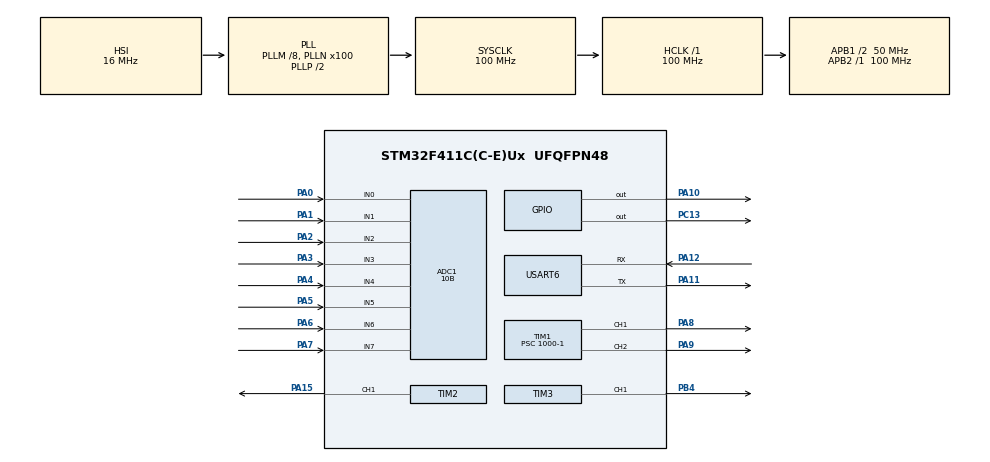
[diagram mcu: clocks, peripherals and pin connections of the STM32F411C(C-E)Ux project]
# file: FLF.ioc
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ADC1.Channel-0\#ChannelRegularConversion=ADC_CHANNEL_0
ADC1.Channel-1\#ChannelRegularConversion=ADC_CHANNEL_1
ADC1.Channel-10\#ChannelRegularConversion=ADC_CHANNEL_6
ADC1.Channel-11\#ChannelRegularConversion=ADC_CHANNEL_7
ADC1.Channel-6\#ChannelRegularConversion=ADC_CHANNEL_2
ADC1.Channel-7\#ChannelRegularConversion=ADC_CHANNEL_3
ADC1.Channel-8\#ChannelRegularConversion=ADC_CHANNEL_4
ADC1.Channel-9\#ChannelRegularConversion=ADC_CHANNEL_5
ADC1.ClockPrescaler=ADC_CLOCK_SYNC_PCLK_DIV4
ADC1.ContinuousConvMode=DISABLE
ADC1.DMAContinuousRequests=ENABLE
ADC1.EOCSelection=ADC_EOC_SEQ_CONV
ADC1.InjNumberOfConversion=0
ADC1.NbrOfConversion=8
ADC1.NbrOfConversionFlag=1
ADC1.Rank-0\#ChannelRegularConversion=1
ADC1.Rank-1\#ChannelRegularConversion=2
ADC1.Rank-10\#ChannelRegularConversion=7
ADC1.Rank-11\#ChannelRegularConversion=8
ADC1.Rank-6\#ChannelRegularConversion=3
ADC1.Rank-7\#ChannelRegularConversion=4
ADC1.Rank-8\#ChannelRegularConversion=5
ADC1.Rank-9\#ChannelRegularConversion=6
ADC1.Resolution=ADC_RESOLUTION_10B
ADC1.SamplingTime-0\#ChannelRegularConversion=ADC_SAMPLETIME_84CYCLES
ADC1.SamplingTime-1\#ChannelRegularConversion=ADC_SAMPLETIME_84CYCLES
ADC1.SamplingTime-10\#ChannelRegularConversion=ADC_SAMPLETIME_84CYCLES
ADC1.SamplingTime-11\#ChannelRegularConversion=ADC_SAMPLETIME_84CYCLES
ADC1.SamplingTime-6\#ChannelRegularConversion=ADC_SAMPLETIME_84CYCLES
ADC1.SamplingTime-7\#ChannelRegularConversion=ADC_SAMPLETIME_84CYCLES
ADC1.SamplingTime-8\#ChannelRegularConversion=ADC_SAMPLETIME_84CYCLES
ADC1.SamplingTime-9\#ChannelRegularConversion=ADC_SAMPLETIME_84CYCLES
ADC1.ScanConvMode=ENABLE
ADC1.master=1
Dma.ADC1.0.Direction=DMA_PERIPH_TO_MEMORY
Dma.ADC1.0.FIFOMode=DMA_FIFOMODE_DISABLE
Dma.ADC1.0.Instance=DMA2_Stream0
Dma.ADC1.0.MemDataAlignment=DMA_MDATAALIGN_WORD
Dma.ADC1.0.MemInc=DMA_MINC_ENABLE
Dma.ADC1.0.Mode=DMA_NORMAL
Dma.ADC1.0.PeriphDataAlignment=DMA_PDATAALIGN_WORD
Dma.ADC1.0.PeriphInc=DMA_PINC_DISABLE
Dma.ADC1.0.Priority=DMA_PRIORITY_VERY_HIGH
Dma.Request0=ADC1
Dma.Request1=USART6_RX
Dma.USART6_RX.1.Direction=DMA_PERIPH_TO_MEMORY
Dma.USART6_RX.1.FIFOMode=DMA_FIFOMODE_DISABLE
Dma.USART6_RX.1.Instance=DMA2_Stream1
Dma.USART6_RX.1.MemDataAlignment=DMA_MDATAALIGN_BYTE
Dma.USART6_RX.1.MemInc=DMA_MINC_ENABLE
Dma.USART6_RX.1.Mode=DMA_NORMAL
Dma.USART6_RX.1.PeriphDataAlignment=DMA_PDATAALIGN_BYTE
Dma.USART6_RX.1.PeriphInc=DMA_PINC_DISABLE
Dma.USART6_RX.1.Priority=DMA_PRIORITY_LOW
Mcu.Family=STM32F4
Mcu.Name=STM32F411C(C-E)Ux
Mcu.Package=UFQFPN48
NVIC.ADC_IRQn=true\:0\:0\:false\:true\:true\:1\:true\:true\:true
NVIC.DMA2_Stream0_IRQn=true\:0\:0\:true\:false\:true\:false\:true\:true
NVIC.DMA2_Stream1_IRQn=true\:0\:0\:false\:false\:true\:false\:true\:true
NVIC.PriorityGroup=NVIC_PRIORITYGROUP_4
NVIC.USART6_IRQn=true\:0\:0\:false\:false\:true\:true\:true\:true
PA0-WKUP.Signal=ADCx_IN0
PA1.Signal=ADCx_IN1
PA10.GPIO_PuPd=GPIO_PULLDOWN
PA10.Signal=GPIO_Output
PA11.Mode=Asynchronous
PA11.Signal=USART6_TX
PA12.Mode=Asynchronous
PA12.Signal=USART6_RX
PA13.Mode=Trace_Asynchronous_SW
PA13.Signal=SYS_JTMS-SWDIO
PA14.Mode=Trace_Asynchronous_SW
PA14.Signal=SYS_JTCK-SWCLK
PA15.Signal=S_TIM2_CH1_ETR
PA2.Signal=ADCx_IN2
PA3.Signal=ADCx_IN3
PA4.Signal=ADCx_IN4
PA5.Signal=ADCx_IN5
PA6.Signal=ADCx_IN6
PA7.Signal=ADCx_IN7
PA8.Signal=S_TIM1_CH1
PA9.Signal=S_TIM1_CH2
PB3.Mode=Trace_Asynchronous_SW
PB3.Signal=SYS_JTDO-SWO
PB4.Signal=S_TIM3_CH1
PC13-ANTI_TAMP.Signal=GPIO_Output
PH0\ -\ OSC_IN.Mode=HSE-External-Oscillator
PH0\ -\ OSC_IN.Signal=RCC_OSC_IN
PH1\ -\ OSC_OUT.Mode=HSE-External-Oscillator
PH1\ -\ OSC_OUT.Signal=RCC_OSC_OUT
ProjectManager.HeapSize=0x200
ProjectManager.StackSize=0x400
ProjectManager.TargetToolchain=STM32CubeIDE
RCC.48MHZClocksFreq_Value=50000000
RCC.AHBFreq_Value=100000000
RCC.APB1CLKDivider=RCC_HCLK_DIV2
RCC.APB1Freq_Value=50000000
RCC.APB1TimFreq_Value=100000000
RCC.APB2Freq_Value=100000000
RCC.APB2TimFreq_Value=100000000
RCC.CortexFreq_Value=100000000
RCC.HCLKFreq_Value=100000000
RCC.HSE_VALUE=25000000
RCC.HSI_VALUE=16000000
RCC.LSE_VALUE=32768
RCC.PLLM=8
RCC.PLLN=100
RCC.SYSCLKFreq_VALUE=100000000
RCC.SYSCLKSource=RCC_SYSCLKSOURCE_PLLCLK
RCC.VCOOutputFreq_Value=200000000
SH.ADCx_IN0.0=ADC1_IN0,IN0
SH.ADCx_IN1.0=ADC1_IN1,IN1
SH.ADCx_IN2.0=ADC1_IN2,IN2
SH.ADCx_IN3.0=ADC1_IN3,IN3
SH.ADCx_IN4.0=ADC1_IN4,IN4
SH.ADCx_IN5.0=ADC1_IN5,IN5
SH.ADCx_IN6.0=ADC1_IN6,IN6
SH.ADCx_IN7.0=ADC1_IN7,IN7
SH.S_TIM1_CH1.0=TIM1_CH1,PWM Generation1 CH1
SH.S_TIM1_CH2.0=TIM1_CH2,PWM Generation2 CH2
SH.S_TIM2_CH1_ETR.0=TIM2_CH1,PWM Generation1 CH1
SH.S_TIM3_CH1.0=TIM3_CH1,PWM Generation1 CH1
TIM1.Channel-PWM\ Generation1\ CH1=TIM_CHANNEL_1
TIM1.Channel-PWM\ Generation2\ CH2=TIM_CHANNEL_2
TIM1.Period=200
TIM1.Prescaler=1000-1
TIM2.Channel-PWM\ Generation1\ CH1=TIM_CHANNEL_1
TIM2.Period=200
TIM2.Prescaler=1000-1
TIM3.Channel-PWM\ Generation1\ CH1=TIM_CHANNEL_1
TIM3.Period=100
TIM3.Prescaler=1000-1
USART6.VirtualMode=VM_ASYNC
board=custom

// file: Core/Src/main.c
/* USER CODE BEGIN Header */
/**
  ******************************************************************************
  * @file           : main.c
  * @brief          : Main program body
  ******************************************************************************
  * @attention
  *
  * Copyright (c) 2025 STMicroelectronics.
  * All rights reserved.
  *
  * This software is licensed under terms that can be found in the LICENSE file
  * in the root directory of this software component.
  * If no LICENSE file comes with this software, it is provided AS-IS.
  *
  ******************************************************************************
  */
/* USER CODE END Header */
#include "main.h"

/* USER CODE BEGIN Includes */
#include "arm_math.h"
#include "string.h"
#include "math.h"
#include <stdlib.h>
/* USER CODE END Includes */

/* USER CODE BEGIN PTD */
typedef struct __attribute__((packed)) {
  char      header_start;         // Should be '<'
  char      header_end;           // Should be '>'
  float     position;
  uint16_t  sensor_values[9];     // Your GUI is configured for 9 sensors
  uint8_t   status_code;
  float     kp;
  float     ki;
  float     kd;
  uint16_t  threshold;
  uint8_t   base_speed;
  float 	pid_error;
  float 	pid_output;
} TelemetryPacket;

typedef struct {
    float32_t Kp;
    float32_t Ki;
    float32_t Kd;

    float32_t setpoint;
    float32_t integral;
    float32_t prev_error;

    float32_t output_min;
    float32_t output_max;
} PID_Controller;
/* USER CODE END PTD */

ADC_HandleTypeDef hadc1;
DMA_HandleTypeDef hdma_adc1;

TIM_HandleTypeDef htim1;
TIM_HandleTypeDef htim2;
TIM_HandleTypeDef htim3;

UART_HandleTypeDef huart6;
DMA_HandleTypeDef hdma_usart6_rx;

/* USER CODE BEGIN PV */
float32_t Kp = 2.5f, Ki = 0.0f, Kd = 0.5f;
uint16_t sensor_threshold = 900;
uint8_t base_speed = 100;
uint8_t turn_speed = 60;
volatile uint8_t status_to_send = 0;

uint32_t adc_buffer[8];
uint32_t sensorWeight[8] = {70, 60, 50, 40, 30, 20, 10, 0};
float32_t position;
PID_Controller pid;

#define RX_BUFFER_SIZE 32
uint8_t rx_buffer[RX_BUFFER_SIZE];
uint32_t last_telemetry_time = 0; // Stores the last time we sent data
const uint32_t TELEMETRY_INTERVAL_MS = 10;

int last_known_turn_direction = 0;
int last_last_known_turn_direction=1;
/* USER CODE END PV */

void SystemClock_Config(void);
static void MX_GPIO_Init(void);
static void MX_DMA_Init(void);
static void MX_ADC1_Init(void);
static void MX_TIM1_Init(void);
static void MX_TIM2_Init(void);
static void MX_TIM3_Init(void);
static void MX_USART6_UART_Init(void);
static void MX_NVIC_Init(void);
/* USER CODE BEGIN PFP */
void setMotorSpeed(uint8_t motor, int32_t speed);
float line_data(void);
void HAL_UARTEx_RxEventCallback(UART_HandleTypeDef *huart, uint16_t Size);
void send_telemetry_data(float current_position,float pid_err, float pid_out) ;
void handle_received_command(uint8_t* buffer, uint16_t len);
void PID_Init(PID_Controller *pid, float32_t setpoint, float32_t out_min, float32_t out_max);
float32_t PID_Update(PID_Controller *pid, float32_t measured_value, float32_t dt);
void PID_Reset(PID_Controller *pid);

/* USER CODE END PFP */

/* USER CODE BEGIN 0 */
void setMotorSpeed(uint8_t motor, int32_t speed) {
    uint16_t pwm = abs(speed);
    if (pwm > 200) pwm = 200;  // Limit max speed

    if (motor == 0) {  // Left motor
        if (speed > 0) {
            TIM1->CCR1 = pwm;
            TIM1->CCR2 = 0;
        } else {
            TIM1->CCR1 = 0;
            TIM1->CCR2 = pwm;
        }
    }
    else if (motor == 1) {  // Right motor
        if (speed > 0) {
            TIM2->CCR1 = pwm;
            TIM3->CCR1 = 0;
        } else {
            TIM2->CCR1 = 0;
            TIM3->CCR1 = pwm;
        }
    }
}
float line_data(void) {
	uint32_t sum = 0;
	uint32_t weighted_sum = 0;
	uint32_t onLine = 0;

    for (int i = 0; i < 8; i++) {
        if (adc_buffer[i] > sensor_threshold) {
            weighted_sum += sensorWeight[i];
            sum += 1;
            onLine = 1;
        }
    }

    if (!onLine) {
        return 255;  // Line lost condition
    }

    return (float)weighted_sum / (float)sum;
}

void send_telemetry_data(float current_position,float pid_err, float pid_out) {
    static TelemetryPacket packet;

    // 1. Set header
    packet.header_start = '<';
    packet.header_end = '>';

    // 2. Add the live position data
    packet.position = current_position;

    // 3. Fill sensor data
    for(int i = 0; i < 8; i++) {
        packet.sensor_values[i] = (uint16_t)adc_buffer[i];
    }
    packet.sensor_values[8] = 0; // 9th sensor is unused

    // 4. Fill with LIVE robot state
    packet.status_code = status_to_send;
    packet.kp = Kp;
    packet.ki = Ki;
    packet.kd = Kd;
    packet.threshold = sensor_threshold;
    packet.base_speed = (uint8_t)base_speed;
    packet.pid_error = pid_err;
    packet.pid_output = pid_out;

    // 5. Transmit the packet
    HAL_UART_Transmit(&huart6, (uint8_t*)&packet, sizeof(TelemetryPacket), 100);

    // 6. Reset the status code after sending
    status_to_send = 0;
}
void handle_received_command(uint8_t* buffer, uint16_t len) {
  // Create a local, null-terminated copy to work with safely.
  char cmd_string[len + 1];
  memcpy(cmd_string, buffer, len);
  cmd_string[len] = '\0';

  // Find the separator character ':'
  char* colon_ptr = strchr(cmd_string, ':');

  // Check if the separator was found
  if (colon_ptr != NULL) {
    *colon_ptr = '\0';
    char* key = cmd_string;
    char* value_str = colon_ptr + 1;
    float value = atof(value_str);

    // --- NEW: Flag to check if we need to re-initialize PID ---
    uint8_t pid_constants_changed = 0;

    if (strcmp(key, "KP") == 0) {
      Kp = value;
      pid_constants_changed = 1; // Mark that a PID constant has changed
    } else if (strcmp(key, "KI") == 0) {
      Ki = value;
      pid_constants_changed = 1; // Mark that a PID constant has changed
    } else if (strcmp(key, "KD") == 0) {
      Kd = value;
      pid_constants_changed = 1; // Mark that a PID constant has changed
    } else if (strcmp(key, "TH") == 0) {
      sensor_threshold = (uint16_t)value;
      status_to_send = 1;
    } else if (strcmp(key, "BS") == 0) {
      base_speed = (uint8_t)value; // Cast to uint8_t for consistency
      pid.output_min = -base_speed;
      pid.output_max = base_speed;
      status_to_send = 1;
    } else {
      status_to_send = 200; // "ERROR: Unknown Command"
    }

    // --- NEW: If any PID constant was changed, update the struct and re-init ---
    if (pid_constants_changed) {
        pid.Kp = Kp;
        pid.Ki = Ki;
        pid.Kd = Kd;
        status_to_send = 1;        // Set status to "Constants Updated"
    }

  } else {
    // The colon separator was not found, so the format is wrong.
    status_to_send = 200; // "ERROR: Unknown Command"
  }
}

// This callback is automatically called by the HAL when a command arrives.
void HAL_UARTEx_RxEventCallback(UART_HandleTypeDef *huart, uint16_t Size)
{
    if (huart->Instance == USART6) {
        handle_received_command(rx_buffer, Size);

        // IMPORTANT: Restart listening for the next command.
        HAL_UARTEx_ReceiveToIdle_DMA(&huart6, rx_buffer, RX_BUFFER_SIZE);
        __HAL_DMA_DISABLE_IT(&hdma_usart6_rx, DMA_IT_HT);
    }
}

void PID_Init(PID_Controller *pid, float32_t setpoint, float32_t out_min, float32_t out_max)  {
    pid->Kp = Kp;
    pid->Ki = Ki;
    pid->Kd = Kd;
    pid->setpoint = setpoint;
    pid->output_min = out_min;
    pid->output_max = out_max;
    pid->integral = 0.0f;
    pid->prev_error = 0.0f;
}

float32_t PID_Update(PID_Controller *pid, float32_t measured_value, float32_t dt) {
    // 1. Calculate Error
    float32_t error = pid->setpoint - measured_value;

    // 2. Proportional term
    float32_t p_term = pid->Kp * error;

    // 3. Integral term (with anti-windup)
    pid->integral += error * dt;
    // Clamp the integral to prevent windup
    if (pid->integral > pid->output_max) {
        pid->integral = pid->output_max;
    } else if (pid->integral < pid->output_min) {
        pid->integral = pid->output_min;
    }
    float32_t i_term = pid->Ki * pid->integral;

    // 4. Derivative term (with division-by-zero safety check)
    float32_t derivative = 0.0f;
    if (dt > 0.00001f) {
        derivative = (error - pid->prev_error) / dt;
    }
    float32_t d_term = pid->Kd * derivative;

    // 5. Calculate total output
    float32_t output = p_term + i_term + d_term;

    // 6. Clamp the final output
    if (output > pid->output_max) {
        output = pid->output_max;
    } else if (output < pid->output_min) {
        output = pid->output_min;
    }

    // 7. Save current error for next iteration
    pid->prev_error = error;

    return output;
}

void PID_Reset(PID_Controller *pid) {
    pid->integral = 0.0f;
    pid->prev_error = 0.0f;
}
/* USER CODE END 0 */

int main(void)
{

  /* MCU Configuration--------------------------------------------------------*/

  /* Reset of all peripherals, Initializes the Flash interface and the Systick. */
  HAL_Init();

  /* Configure the system clock */
  SystemClock_Config();

  /* Initialize all configured peripherals */
  MX_GPIO_Init();
  MX_DMA_Init();
  MX_ADC1_Init();
  MX_TIM1_Init();
  MX_TIM2_Init();
  MX_TIM3_Init();
  MX_USART6_UART_Init();

  /* Initialize interrupts */
  MX_NVIC_Init();
  /* USER CODE BEGIN 2 */
  HAL_ADC_Start_IT(&hadc1);
  HAL_ADC_Start_DMA(&hadc1, (uint32_t*) adc_buffer, 8);
  HAL_TIM_PWM_Start(&htim1, TIM_CHANNEL_1);
  HAL_TIM_PWM_Start(&htim1, TIM_CHANNEL_2);
  HAL_TIM_PWM_Start(&htim3, TIM_CHANNEL_1);
  HAL_TIM_PWM_Start(&htim2, TIM_CHANNEL_1);
  HAL_UARTEx_ReceiveToIdle_DMA(&huart6, rx_buffer, RX_BUFFER_SIZE);
  __HAL_DMA_DISABLE_IT(&hdma_usart6_rx, DMA_IT_HT);

  PID_Init(&pid, 35.0f, -base_speed, base_speed);

  HAL_ADC_Start_DMA(&hadc1, (uint32_t*)adc_buffer, 8);
  /* USER CODE END 2 */

  /* Infinite loop */
  while (1)
  {
	  uint32_t current_time = HAL_GetTick();
	  float32_t error = 0.0f;
	  float32_t output = 0.0f;

	  if (current_time - last_telemetry_time >= TELEMETRY_INTERVAL_MS)
	  {
	      last_telemetry_time = current_time;
	      HAL_ADC_Start_DMA(&hadc1, (uint32_t*)adc_buffer, 8);
	      float32_t dt_sec = (float32_t)TELEMETRY_INTERVAL_MS / 1000.0f;
	      position = line_data();

	      last_known_turn_direction = (position > 52 && position <= 70) ? -1 : ((position < 20 && position != 255) ? 1 : last_known_turn_direction);

	      if (position == 255)
	      {
	    	  PID_Reset(&pid);
	    	  if (last_known_turn_direction == 1) { // We were heading into a right turn
	    		  setMotorSpeed(0, turn_speed);
	    		  setMotorSpeed(1, -turn_speed);
	    		  status_to_send = 4;
	    	  } else if (last_known_turn_direction == -1) { // We were heading into a left turn
	    		  setMotorSpeed(0, -turn_speed);
	    		  setMotorSpeed(1, turn_speed);
	    		  status_to_send = 5;
	    	  }

	      } else {
	    	  output = PID_Update(&pid, position, dt_sec);
	    	  error = pid.setpoint - position;
	    	  setMotorSpeed(0, base_speed + (int32_t)output);
	    	  setMotorSpeed(1, base_speed - (int32_t)output);
	      }

	      send_telemetry_data(position,error,output);
	    }

  }
}

void SystemClock_Config(void)
{
  RCC_OscInitTypeDef RCC_OscInitStruct = {0};
  RCC_ClkInitTypeDef RCC_ClkInitStruct = {0};

  /** Configure the main internal regulator output voltage
  */
  __HAL_RCC_PWR_CLK_ENABLE();
  __HAL_PWR_VOLTAGESCALING_CONFIG(PWR_REGULATOR_VOLTAGE_SCALE1);

  /** Initializes the RCC Oscillators according to the specified parameters
  * in the RCC_OscInitTypeDef structure.
  */
  RCC_OscInitStruct.OscillatorType = RCC_OSCILLATORTYPE_HSI;
  RCC_OscInitStruct.HSIState = RCC_HSI_ON;
  RCC_OscInitStruct.HSICalibrationValue = RCC_HSICALIBRATION_DEFAULT;
  RCC_OscInitStruct.PLL.PLLState = RCC_PLL_ON;
  RCC_OscInitStruct.PLL.PLLSource = RCC_PLLSOURCE_HSI;
  RCC_OscInitStruct.PLL.PLLM = 8;
  RCC_OscInitStruct.PLL.PLLN = 100;
  RCC_OscInitStruct.PLL.PLLP = RCC_PLLP_DIV2;
  RCC_OscInitStruct.PLL.PLLQ = 4;
  if (HAL_RCC_OscConfig(&RCC_OscInitStruct) != HAL_OK)
  {
    Error_Handler();
  }

  /** Initializes the CPU, AHB and APB buses clocks
  */
  RCC_ClkInitStruct.ClockType = RCC_CLOCKTYPE_HCLK|RCC_CLOCKTYPE_SYSCLK
                              |RCC_CLOCKTYPE_PCLK1|RCC_CLOCKTYPE_PCLK2;
  RCC_ClkInitStruct.SYSCLKSource = RCC_SYSCLKSOURCE_PLLCLK;
  RCC_ClkInitStruct.AHBCLKDivider = RCC_SYSCLK_DIV1;
  RCC_ClkInitStruct.APB1CLKDivider = RCC_HCLK_DIV2;
  RCC_ClkInitStruct.APB2CLKDivider = RCC_HCLK_DIV1;

  if (HAL_RCC_ClockConfig(&RCC_ClkInitStruct, FLASH_LATENCY_3) != HAL_OK)
  {
    Error_Handler();
  }
}

/**
  * @brief NVIC Configuration.
  * @retval None
  */
static void MX_NVIC_Init(void)
{
  /* ADC_IRQn interrupt configuration */
  HAL_NVIC_SetPriority(ADC_IRQn, 0, 0);
  HAL_NVIC_EnableIRQ(ADC_IRQn);
}

static void MX_ADC1_Init(void)
{

  ADC_ChannelConfTypeDef sConfig = {0};

  /** Configure the global features of the ADC (Clock, Resolution, Data Alignment and number of conversion)
  */
  hadc1.Instance = ADC1;
  hadc1.Init.ClockPrescaler = ADC_CLOCK_SYNC_PCLK_DIV4;
  hadc1.Init.Resolution = ADC_RESOLUTION_10B;
  hadc1.Init.ScanConvMode = ENABLE;
  hadc1.Init.ContinuousConvMode = DISABLE;
  hadc1.Init.DiscontinuousConvMode = DISABLE;
  hadc1.Init.ExternalTrigConvEdge = ADC_EXTERNALTRIGCONVEDGE_NONE;
  hadc1.Init.ExternalTrigConv = ADC_SOFTWARE_START;
  hadc1.Init.DataAlign = ADC_DATAALIGN_RIGHT;
  hadc1.Init.NbrOfConversion = 8;
  hadc1.Init.DMAContinuousRequests = ENABLE;
  hadc1.Init.EOCSelection = ADC_EOC_SEQ_CONV;
  if (HAL_ADC_Init(&hadc1) != HAL_OK)
  {
    Error_Handler();
  }

  /** Configure for the selected ADC regular channel its corresponding rank in the sequencer and its sample time.
  */
  sConfig.Channel = ADC_CHANNEL_0;
  sConfig.Rank = 1;
  sConfig.SamplingTime = ADC_SAMPLETIME_84CYCLES;
  if (HAL_ADC_ConfigChannel(&hadc1, &sConfig) != HAL_OK)
  {
    Error_Handler();
  }

  /** Configure for the selected ADC regular channel its corresponding rank in the sequencer and its sample time.
  */
  sConfig.Channel = ADC_CHANNEL_1;
  sConfig.Rank = 2;
  if (HAL_ADC_ConfigChannel(&hadc1, &sConfig) != HAL_OK)
  {
    Error_Handler();
  }

  /** Configure for the selected ADC regular channel its corresponding rank in the sequencer and its sample time.
  */
  sConfig.Channel = ADC_CHANNEL_2;
  sConfig.Rank = 3;
  if (HAL_ADC_ConfigChannel(&hadc1, &sConfig) != HAL_OK)
  {
    Error_Handler();
  }

  /** Configure for the selected ADC regular channel its corresponding rank in the sequencer and its sample time.
  */
  sConfig.Channel = ADC_CHANNEL_3;
  sConfig.Rank = 4;
  if (HAL_ADC_ConfigChannel(&hadc1, &sConfig) != HAL_OK)
  {
    Error_Handler();
  }

  /** Configure for the selected ADC regular channel its corresponding rank in the sequencer and its sample time.
  */
  sConfig.Channel = ADC_CHANNEL_4;
  sConfig.Rank = 5;
  if (HAL_ADC_ConfigChannel(&hadc1, &sConfig) != HAL_OK)
  {
    Error_Handler();
  }

  /** Configure for the selected ADC regular channel its corresponding rank in the sequencer and its sample time.
  */
  sConfig.Channel = ADC_CHANNEL_5;
  sConfig.Rank = 6;
  if (HAL_ADC_ConfigChannel(&hadc1, &sConfig) != HAL_OK)
  {
    Error_Handler();
  }

  /** Configure for the selected ADC regular channel its corresponding rank in the sequencer and its sample time.
  */
  sConfig.Channel = ADC_CHANNEL_6;
  sConfig.Rank = 7;
  if (HAL_ADC_ConfigChannel(&hadc1, &sConfig) != HAL_OK)
  {
    Error_Handler();
  }

  /** Configure for the selected ADC regular channel its corresponding rank in the sequencer and its sample time.
  */
  sConfig.Channel = ADC_CHANNEL_7;
  sConfig.Rank = 8;
  if (HAL_ADC_ConfigChannel(&hadc1, &sConfig) != HAL_OK)
  {
    Error_Handler();
  }

}

static void MX_TIM1_Init(void)
{

  TIM_MasterConfigTypeDef sMasterConfig = {0};
  TIM_OC_InitTypeDef sConfigOC = {0};
  TIM_BreakDeadTimeConfigTypeDef sBreakDeadTimeConfig = {0};

  htim1.Instance = TIM1;
  htim1.Init.Prescaler = 1000-1;
  htim1.Init.CounterMode = TIM_COUNTERMODE_UP;
  htim1.Init.Period = 200;
  htim1.Init.ClockDivision = TIM_CLOCKDIVISION_DIV1;
  htim1.Init.RepetitionCounter = 0;
  htim1.Init.AutoReloadPreload = TIM_AUTORELOAD_PRELOAD_DISABLE;
  if (HAL_TIM_PWM_Init(&htim1) != HAL_OK)
  {
    Error_Handler();
  }
  sMasterConfig.MasterOutputTrigger = TIM_TRGO_RESET;
  sMasterConfig.MasterSlaveMode = TIM_MASTERSLAVEMODE_DISABLE;
  if (HAL_TIMEx_MasterConfigSynchronization(&htim1, &sMasterConfig) != HAL_OK)
  {
    Error_Handler();
  }
  sConfigOC.OCMode = TIM_OCMODE_PWM1;
  sConfigOC.Pulse = 0;
  sConfigOC.OCPolarity = TIM_OCPOLARITY_HIGH;
  sConfigOC.OCNPolarity = TIM_OCNPOLARITY_HIGH;
  sConfigOC.OCFastMode = TIM_OCFAST_DISABLE;
  sConfigOC.OCIdleState = TIM_OCIDLESTATE_RESET;
  sConfigOC.OCNIdleState = TIM_OCNIDLESTATE_RESET;
  if (HAL_TIM_PWM_ConfigChannel(&htim1, &sConfigOC, TIM_CHANNEL_1) != HAL_OK)
  {
    Error_Handler();
  }
  if (HAL_TIM_PWM_ConfigChannel(&htim1, &sConfigOC, TIM_CHANNEL_2) != HAL_OK)
  {
    Error_Handler();
  }
  sBreakDeadTimeConfig.OffStateRunMode = TIM_OSSR_DISABLE;
  sBreakDeadTimeConfig.OffStateIDLEMode = TIM_OSSI_DISABLE;
  sBreakDeadTimeConfig.LockLevel = TIM_LOCKLEVEL_OFF;
  sBreakDeadTimeConfig.DeadTime = 0;
  sBreakDeadTimeConfig.BreakState = TIM_BREAK_DISABLE;
  sBreakDeadTimeConfig.BreakPolarity = TIM_BREAKPOLARITY_HIGH;
  sBreakDeadTimeConfig.AutomaticOutput = TIM_AUTOMATICOUTPUT_DISABLE;
  if (HAL_TIMEx_ConfigBreakDeadTime(&htim1, &sBreakDeadTimeConfig) != HAL_OK)
  {
    Error_Handler();
  }
  HAL_TIM_MspPostInit(&htim1);

}

static void MX_TIM2_Init(void)
{

  TIM_MasterConfigTypeDef sMasterConfig = {0};
  TIM_OC_InitTypeDef sConfigOC = {0};

  htim2.Instance = TIM2;
  htim2.Init.Prescaler = 1000-1;
  htim2.Init.CounterMode = TIM_COUNTERMODE_UP;
  htim2.Init.Period = 200;
  htim2.Init.ClockDivision = TIM_CLOCKDIVISION_DIV1;
  htim2.Init.AutoReloadPreload = TIM_AUTORELOAD_PRELOAD_DISABLE;
  if (HAL_TIM_PWM_Init(&htim2) != HAL_OK)
  {
    Error_Handler();
  }
  sMasterConfig.MasterOutputTrigger = TIM_TRGO_RESET;
  sMasterConfig.MasterSlaveMode = TIM_MASTERSLAVEMODE_DISABLE;
  if (HAL_TIMEx_MasterConfigSynchronization(&htim2, &sMasterConfig) != HAL_OK)
  {
    Error_Handler();
  }
  sConfigOC.OCMode = TIM_OCMODE_PWM1;
  sConfigOC.Pulse = 0;
  sConfigOC.OCPolarity = TIM_OCPOLARITY_HIGH;
  sConfigOC.OCFastMode = TIM_OCFAST_DISABLE;
  if (HAL_TIM_PWM_ConfigChannel(&htim2, &sConfigOC, TIM_CHANNEL_1) != HAL_OK)
  {
    Error_Handler();
  }
  HAL_TIM_MspPostInit(&htim2);

}

static void MX_TIM3_Init(void)
{

  TIM_MasterConfigTypeDef sMasterConfig = {0};
  TIM_OC_InitTypeDef sConfigOC = {0};

  htim3.Instance = TIM3;
  htim3.Init.Prescaler = 1000-1;
  htim3.Init.CounterMode = TIM_COUNTERMODE_UP;
  htim3.Init.Period = 200;
  htim3.Init.ClockDivision = TIM_CLOCKDIVISION_DIV1;
  htim3.Init.AutoReloadPreload = TIM_AUTORELOAD_PRELOAD_DISABLE;
  if (HAL_TIM_PWM_Init(&htim3) != HAL_OK)
  {
    Error_Handler();
  }
  sMasterConfig.MasterOutputTrigger = TIM_TRGO_RESET;
  sMasterConfig.MasterSlaveMode = TIM_MASTERSLAVEMODE_DISABLE;
  if (HAL_TIMEx_MasterConfigSynchronization(&htim3, &sMasterConfig) != HAL_OK)
  {
    Error_Handler();
  }
  sConfigOC.OCMode = TIM_OCMODE_PWM1;
  sConfigOC.Pulse = 0;
  sConfigOC.OCPolarity = TIM_OCPOLARITY_HIGH;
  sConfigOC.OCFastMode = TIM_OCFAST_DISABLE;
  if (HAL_TIM_PWM_ConfigChannel(&htim3, &sConfigOC, TIM_CHANNEL_1) != HAL_OK)
  {
    Error_Handler();
  }
  HAL_TIM_MspPostInit(&htim3);

}

static void MX_USART6_UART_Init(void)
{

  huart6.Instance = USART6;
  huart6.Init.BaudRate = 115200;
  huart6.Init.WordLength = UART_WORDLENGTH_8B;
  huart6.Init.StopBits = UART_STOPBITS_1;
  huart6.Init.Parity = UART_PARITY_NONE;
  huart6.Init.Mode = UART_MODE_TX_RX;
  huart6.Init.HwFlowCtl = UART_HWCONTROL_NONE;
  huart6.Init.OverSampling = UART_OVERSAMPLING_16;
  if (HAL_UART_Init(&huart6) != HAL_OK)
  {
    Error_Handler();
  }

}

static void MX_DMA_Init(void)
{

  /* DMA controller clock enable */
  __HAL_RCC_DMA2_CLK_ENABLE();

  /* DMA interrupt init */
  /* DMA2_Stream0_IRQn interrupt configuration */
  HAL_NVIC_SetPriority(DMA2_Stream0_IRQn, 0, 0);
  HAL_NVIC_EnableIRQ(DMA2_Stream0_IRQn);
  /* DMA2_Stream1_IRQn interrupt configuration */
  HAL_NVIC_SetPriority(DMA2_Stream1_IRQn, 0, 0);
  HAL_NVIC_EnableIRQ(DMA2_Stream1_IRQn);

}

static void MX_GPIO_Init(void)
{
  GPIO_InitTypeDef GPIO_InitStruct = {0};

  /* GPIO Ports Clock Enable */
  __HAL_RCC_GPIOC_CLK_ENABLE();
  __HAL_RCC_GPIOH_CLK_ENABLE();
  __HAL_RCC_GPIOA_CLK_ENABLE();
  __HAL_RCC_GPIOB_CLK_ENABLE();

  /*Configure GPIO pin Output Level */
  HAL_GPIO_WritePin(GPIOC, GPIO_PIN_13, GPIO_PIN_RESET);

  /*Configure GPIO pin Output Level */
  HAL_GPIO_WritePin(GPIOA, GPIO_PIN_10, GPIO_PIN_RESET);

  /*Configure GPIO pin : PC13 */
  GPIO_InitStruct.Pin = GPIO_PIN_13;
  GPIO_InitStruct.Mode = GPIO_MODE_OUTPUT_PP;
  GPIO_InitStruct.Pull = GPIO_NOPULL;
  GPIO_InitStruct.Speed = GPIO_SPEED_FREQ_LOW;
  HAL_GPIO_Init(GPIOC, &GPIO_InitStruct);

  /*Configure GPIO pin : PA10 */
  GPIO_InitStruct.Pin = GPIO_PIN_10;
  GPIO_InitStruct.Mode = GPIO_MODE_OUTPUT_PP;
  GPIO_InitStruct.Pull = GPIO_PULLDOWN;
  GPIO_InitStruct.Speed = GPIO_SPEED_FREQ_LOW;
  HAL_GPIO_Init(GPIOA, &GPIO_InitStruct);

}

void Error_Handler(void)
{
  __disable_irq();
  while (1)
  {
  }
}
